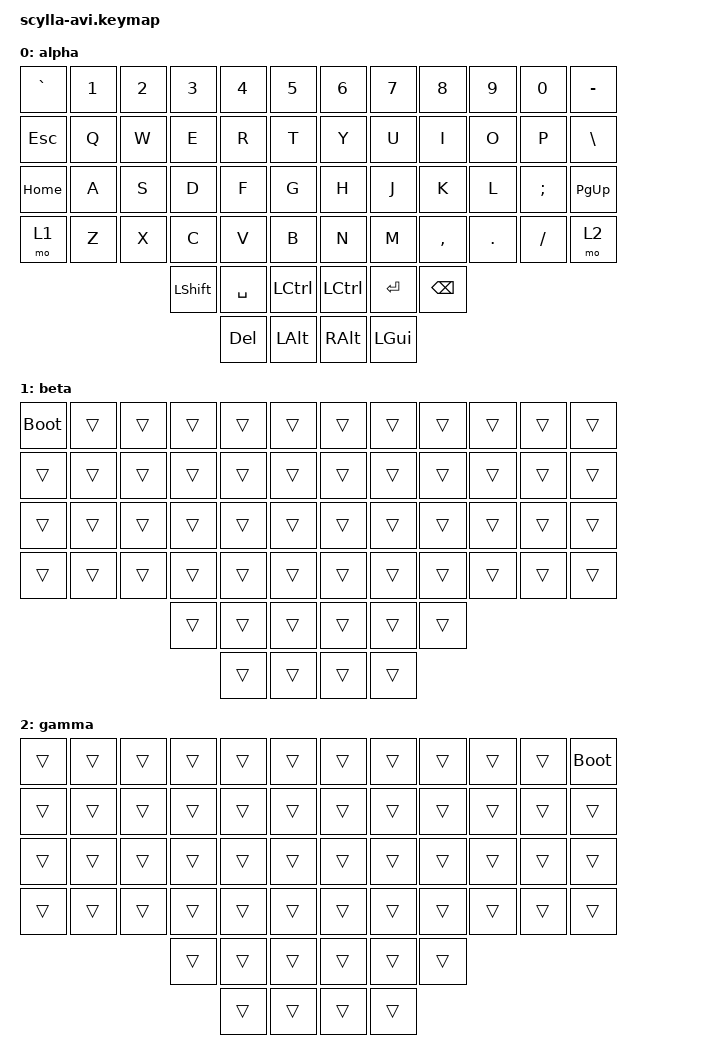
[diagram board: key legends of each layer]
#include <behaviors/mouse_keys.dtsi>
#include <dt-bindings/zmk/mouse.h>
#include <behaviors.dtsi>
#include <dt-bindings/zmk/keys.h>

/ {
    keymap {
        compatible = "zmk,keymap";

        alpha {
            bindings = <
&kp GRAVE  &kp N1  &kp N2  &kp N3          &kp N4     &kp N5     &kp N6     &kp N7    &kp N8     &kp N9   &kp N0    &kp MINUS
&kp ESC    &kp Q   &kp W   &kp E           &kp R      &kp T      &kp Y      &kp U     &kp I      &kp O    &kp P     &kp BSLH
&kp HOME   &kp A   &kp S   &kp D           &kp F      &kp G      &kp H      &kp J     &kp K      &kp L    &kp SEMI  &kp PG_UP
&mo 1      &kp Z   &kp X   &kp C           &kp V      &kp B      &kp N      &kp M     &kp COMMA  &kp DOT  &kp FSLH  &mo 2
                           &kp LEFT_SHIFT  &kp SPACE  &kp LCTRL  &kp LCTRL  &kp RET   &kp BSPC
                                           &kp DEL    &kp LALT   &kp RALT   &kp LGUI
            >;
        };

        beta {
            bindings = <
&bootloader  &trans  &trans  &trans  &trans  &trans  &trans  &trans  &trans  &trans  &trans  &trans
&trans       &trans  &trans  &trans  &trans  &trans  &trans  &trans  &trans  &trans  &trans  &trans
&trans       &trans  &trans  &trans  &trans  &trans  &trans  &trans  &trans  &trans  &trans  &trans
&trans       &trans  &trans  &trans  &trans  &trans  &trans  &trans  &trans  &trans  &trans  &trans
                             &trans  &trans  &trans  &trans  &trans  &trans
                                     &trans  &trans  &trans  &trans
            >;
        };

        gamma {
            bindings = <
&trans  &trans  &trans  &trans  &trans  &trans  &trans  &trans  &trans  &trans  &trans  &bootloader
&trans  &trans  &trans  &trans  &trans  &trans  &trans  &trans  &trans  &trans  &trans  &trans
&trans  &trans  &trans  &trans  &trans  &trans  &trans  &trans  &trans  &trans  &trans  &trans
&trans  &trans  &trans  &trans  &trans  &trans  &trans  &trans  &trans  &trans  &trans  &trans
                        &trans  &trans  &trans  &trans  &trans  &trans
                                &trans  &trans  &trans  &trans
            >;
        };
    };
};
